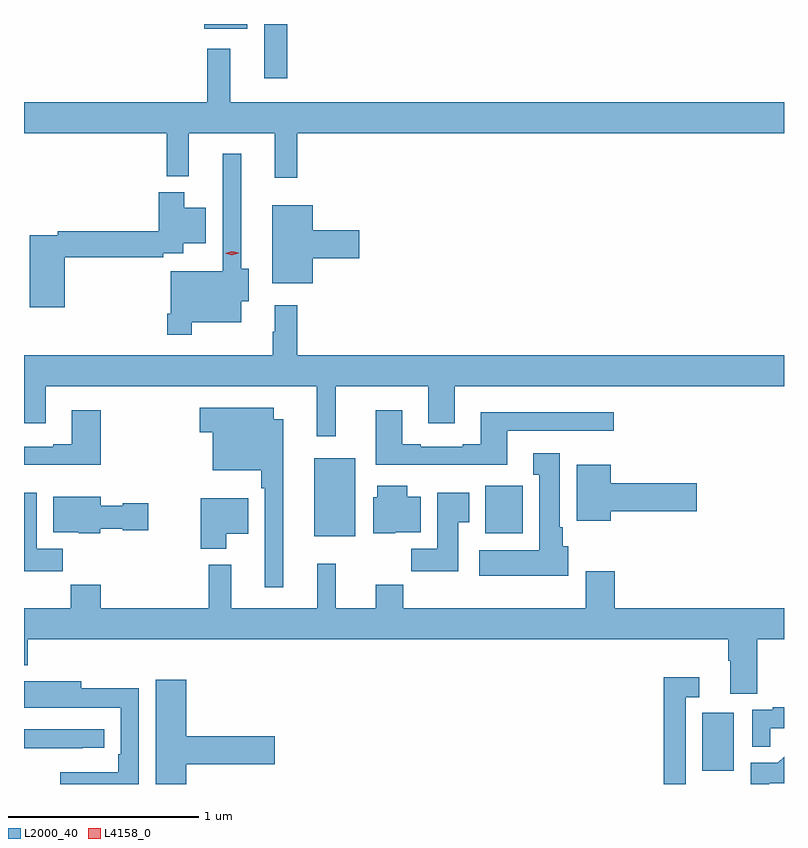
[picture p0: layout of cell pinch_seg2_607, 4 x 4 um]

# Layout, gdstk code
import gdstk
lib = gdstk.Library(unit=1e-6, precision=1e-09)
def R(c, l, rs):  # rectangles x0, y0, x1, y1
    for r in rs: c.add(gdstk.rectangle(r[:2], r[2:], *l))
def P(c, l, *ps):  # polygons
    for p in ps: c.add(gdstk.Polygon(p, *l))
L2000_40 = (2000, 40)
L4158_0 = (4158, 0)

pinch_seg2_607 = lib.new_cell('pinch_seg2_607')
R(pinch_seg2_607, L2000_40, [(1045.994,621.636,1046.158,621.943), (1043.951,622.871,1044.166,623.281), (1044.851,622.886,1045.047,623.137), (1043.687,625.281,1043.809,625.567), (1043.372,625.541,1043.599,625.567)])
P(pinch_seg2_607, L2000_40, [(1043.861,624.992),(1046.423,624.992),(1046.423,625.156),(1043.509,625.156),(1043.509,625.438),(1043.388,625.438),(1043.388,625.156),(1042.423,625.156),(1042.423,624.992),(1043.173,624.992),(1043.173,624.767),(1043.291,624.767),(1043.291,624.992),(1043.744,624.992),(1043.744,624.759),(1043.861,624.759)],
  [(1043.305,623.996),(1043.566,623.996),(1043.566,624.107),(1043.605,624.107),(1043.605,624.278),(1043.566,624.278),(1043.566,624.883),(1043.469,624.883),(1043.469,624.265),(1043.196,624.265),(1043.196,624.043),(1043.176,624.043),(1043.176,623.931),(1043.305,623.931)],
  [(1042.637,624.34),(1043.156,624.34),(1043.156,624.36),(1043.26,624.36),(1043.26,624.413),(1043.38,624.413),(1043.38,624.601),(1043.266,624.601),(1043.266,624.682),(1043.132,624.682),(1043.132,624.476),(1042.6,624.476),(1042.6,624.456),(1042.454,624.456),(1042.454,624.075),(1042.637,624.075)],
  [(1043.944,624.335),(1044.187,624.335),(1044.187,624.482),(1043.944,624.482),(1043.944,624.613),(1043.729,624.613),(1043.729,624.203),(1043.944,624.203)],
  [(1044.065,623.66),(1044.551,623.66),(1044.551,623.466),(1044.691,623.466),(1044.691,623.66),(1046.423,623.66),(1046.423,623.824),(1043.861,623.824),(1043.861,624.088),(1043.744,624.088),(1043.744,623.948),(1043.733,623.948),(1043.733,623.824),(1042.423,623.824),(1042.423,623.466),(1042.537,623.466),(1042.537,623.66),(1043.965,623.66),(1043.965,623.397),(1044.065,623.397)],
  [(1043.788,623.488),(1043.737,623.488),(1043.737,623.548),(1043.349,623.548),(1043.349,623.419),(1043.417,623.419),(1043.417,623.219),(1043.671,623.219),(1043.671,623.123),(1043.691,623.123),(1043.691,622.602),(1043.788,622.602)],
  [(1042.826,623.533),(1042.673,623.533),(1042.673,623.356),(1042.577,623.356),(1042.577,623.343),(1042.423,623.343),(1042.423,623.246),(1042.826,623.246)],
  [(1044.967,623.427),(1045.528,623.427),(1045.528,623.524),(1044.827,623.524),(1044.827,623.356),(1044.731,623.356),(1044.731,623.343),(1044.511,623.343),(1044.511,623.356),(1044.415,623.356),(1044.415,623.533),(1044.275,623.533),(1044.275,623.246),(1044.967,623.246)],
  [(1045.288,622.818),(1045.258,622.818),(1045.258,622.918),(1045.243,622.918),(1045.243,623.308),(1045.103,623.308),(1045.103,623.195),(1045.136,623.195),(1045.136,622.798),(1044.819,622.798),(1044.819,622.664),(1045.288,622.664)],
  [(1045.51,623.003),(1045.963,623.003),(1045.963,623.15),(1045.51,623.15),(1045.51,623.248),(1045.331,623.248),(1045.331,622.952),(1045.51,622.952)],
  [(1044.378,622.892),(1044.511,622.892),(1044.511,623.08),(1044.439,623.08),(1044.439,623.137),(1044.281,623.137),(1044.281,623.076),(1044.26,623.076),(1044.26,622.886),(1044.378,622.886)],
  [(1044.709,622.945),(1044.766,622.945),(1044.766,623.101),(1044.599,623.101),(1044.599,622.804),(1044.46,622.804),(1044.46,622.686),(1044.709,622.686)],
  [(1042.628,622.804),(1042.489,622.804),(1042.489,623.101),(1042.423,623.101),(1042.423,622.686),(1042.628,622.686)],
  [(1042.824,622.91),(1042.944,622.91),(1042.944,622.903),(1043.077,622.903),(1043.077,623.045),(1042.944,623.045),(1042.944,623.032),(1042.828,623.032),(1042.828,623.08),(1042.577,623.08),(1042.577,622.892),(1042.71,622.892),(1042.71,622.886),(1042.824,622.886)],
  [(1043.488,622.883),(1043.602,622.883),(1043.602,623.071),(1043.354,623.071),(1043.354,622.805),(1043.488,622.805)],
  [(1046.281,622.328),(1046.423,622.328),(1046.423,622.492),(1045.532,622.492),(1045.532,622.687),(1045.379,622.687),(1045.379,622.492),(1044.419,622.492),(1044.419,622.616),(1044.275,622.616),(1044.275,622.492),(1044.065,622.492),(1044.065,622.726),(1043.966,622.726),(1043.966,622.492),(1043.513,622.492),(1043.513,622.72),(1043.395,622.72),(1043.395,622.492),(1042.826,622.492),(1042.826,622.616),(1042.669,622.616),(1042.669,622.492),(1042.423,622.492),(1042.423,622.193),(1042.442,622.193),(1042.442,622.328),(1046.129,622.328),(1046.129,622.216),(1046.141,622.216),(1046.141,622.042),(1046.281,622.042)],
  [(1045.905,622.023),(1045.978,622.023),(1045.978,622.129),(1045.789,622.129),(1045.789,621.567),(1045.905,621.567)],
  [(1043.278,621.671),(1043.743,621.671),(1043.743,621.818),(1043.278,621.818),(1043.278,622.117),(1043.117,622.117),(1043.117,621.567),(1043.278,621.567)],
  [(1043.028,622.07),(1042.723,622.07),(1042.723,622.108),(1042.423,622.108),(1042.423,621.968),(1042.619,621.968),(1042.619,621.969),(1042.932,621.969),(1042.932,621.724),(1042.919,621.724),(1042.919,621.628),(1042.614,621.628),(1042.614,621.567),(1043.028,621.567)],
  [(1046.351,621.861),(1046.423,621.861),(1046.423,621.97),(1046.363,621.97),(1046.363,621.957),(1046.256,621.957),(1046.256,621.763),(1046.351,621.763)],
  [(1042.733,621.759),(1042.846,621.759),(1042.846,621.855),(1042.423,621.855),(1042.423,621.754),(1042.733,621.754)],
  [(1046.346,621.57),(1046.422,621.57),(1046.423,621.571),(1046.423,621.71),(1046.391,621.678),(1046.247,621.678),(1046.247,621.567),(1046.346,621.567)])
P(pinch_seg2_607, L4158_0, [(1043.516,624.351),(1043.481,624.36),(1043.48,624.36),(1043.481,624.36),(1043.516,624.371),(1043.552,624.362),(1043.552,624.362),(1043.552,624.361)])

lib.write_gds('pinch_seg2_607.gds')
